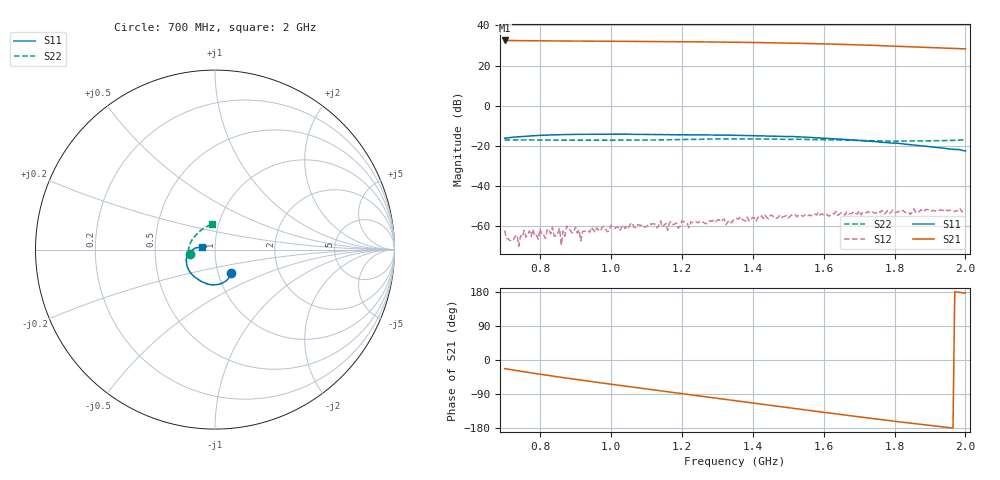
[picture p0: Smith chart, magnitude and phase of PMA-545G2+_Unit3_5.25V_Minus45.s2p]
!Mini-Circuits Laboratory
!S-Parameters
!Model: PMA-545G2+
!Run / Lot / Date Code: N/A / N/A / NA
!Fixture: NA; TEST BOARD: TB-607+
!AUTO PORT EXTENSION DONE: PORT<1>=120.99ps; PORT<2>=143.047ps
!Network Analyzer: PNA-X N5242A - 423 4 ports;  Serial number: 71256
!Date: 1/11/2011
!S/N: Unit# 3
# Hz  S  dB  R  50
!Frequency  S11 dB  S11 Deg  S21 dB  S21 Deg  S12 dB  S12 Deg  S22 dB  S22 Deg
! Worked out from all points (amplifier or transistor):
!   261 points, 700 MHz to 2 GHz, reference 50 ohm
!   highest |S21| = 32.5 dB at 700 MHz (marker M1)
!   |S21| within 3 dB of that: start of sweep to 1.832 GHz
!   unconditionally stable (mu >= 1): start of sweep to end of sweep
!   at 915 MHz: K = 26.60, MAG = 32.4 dB, |S12| = -67.2 dB
!   at 1.35 GHz: K = 8.14, MAG = 31.9 dB, |S12| = -56.3 dB
!   at 2 GHz: K = 7.02, MAG = 28.4 dB, |S12| = -51.5 dB
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7e8  -16.09 -54.6  32.50 -22.6  -62.01 129.0  -17.00 -169.0
7.4e8  -15.38 -60.9  32.42 -28.8  -69.86 121.8  -17.01 -168.7
7.55e8  -15.20 -63.1  32.39 -31.1  -61.93 148.0  -16.99 -168.3
8.1e8  -14.65 -71.0  32.31 -38.9  -64.24 117.4  -17.08 -167.9
8.55e8  -14.40 -77.6  32.25 -45.1  -61.08 130.5  -17.12 -167.6
8.6e8  -14.40 -78.2  32.24 -45.8  -69.32 139.2  -17.14 -168.0
8.75e8  -14.30 -80.3  32.22 -47.8  -59.82 121.9  -17.09 -167.8
9.2e8  -14.18 -86.4  32.17 -53.7  -62.45 114.8  -17.12 -167.5
9.85e8  -14.13 -95.1  32.10 -62.0  -61.52 112.6  -17.12 -167.1
1.035e9  -14.13 -101.8  32.06 -68.3  -59.37 132.5  -17.10 -166.8
1.135e9  -14.30 -115.5  31.97 -80.6  -59.67 128.7  -17.02 -167.4
1.19e9  -14.43 -123.5  31.90 -87.5  -60.91 126.9  -16.85 -169.1
1.245e9  -14.47 -130.6  31.82 -94.3  -58.29 126.1  -16.69 -170.3
1.35e9  -14.68 -143.1  31.61 -107.3  -56.34 117.4  -16.47 -173.5
1.415e9  -14.90 -150.2  31.45 -115.3  -55.39 110.7  -16.53 -176.4
1.47e9  -15.14 -155.6  31.29 -122.0  -55.86 116.9  -16.62 179.8
1.57e9  -15.81 -164.9  30.92 -134.3  -53.75 108.5  -16.83 170.0
1.67e9  -16.87 -172.9  30.46 -146.4  -53.82 99.4  -17.13 157.4
1.725e9  -17.54 -177.2  30.16 -152.9  -52.58 94.5  -17.36 149.3
1.785e9  -18.41 179.2  29.80 -159.8  -53.52 93.4  -17.54 138.7
1.88e9  -20.00 173.9  29.18 -170.5  -52.80 83.9  -17.49 121.1
2e9  -22.46 170.2  28.30 176.7  -51.45 87.8  -16.94 97.7
